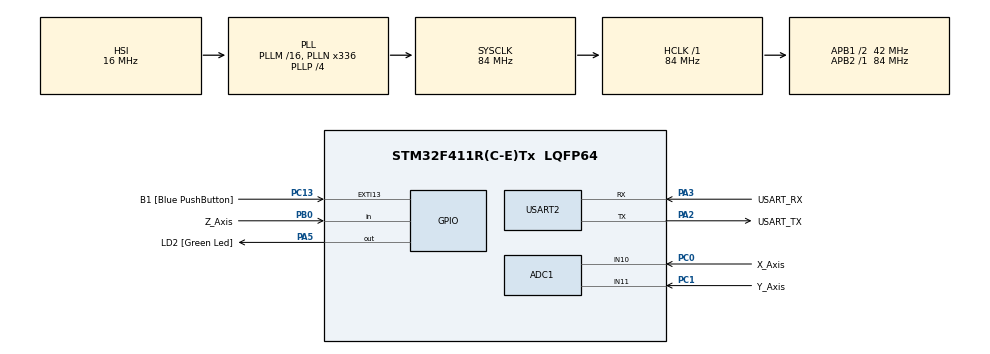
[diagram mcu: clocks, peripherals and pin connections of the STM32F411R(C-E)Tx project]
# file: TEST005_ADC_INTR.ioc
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ADC1.Channel-0\#ChannelRegularConversion=ADC_CHANNEL_10
ADC1.Channel-1\#ChannelRegularConversion=ADC_CHANNEL_11
ADC1.DiscontinuousConvMode=ENABLE
ADC1.NbrOfConversion=2
ADC1.NbrOfConversionFlag=1
ADC1.Rank-0\#ChannelRegularConversion=1
ADC1.Rank-1\#ChannelRegularConversion=2
ADC1.SamplingTime-0\#ChannelRegularConversion=ADC_SAMPLETIME_3CYCLES
ADC1.SamplingTime-1\#ChannelRegularConversion=ADC_SAMPLETIME_3CYCLES
ADC1.ScanConvMode=ENABLE
ADC1.master=1
Mcu.Family=STM32F4
Mcu.Name=STM32F411R(C-E)Tx
Mcu.Package=LQFP64
NVIC.ADC_IRQn=true\:0\:0\:false\:false\:true\:true\:true\:true
NVIC.PriorityGroup=NVIC_PRIORITYGROUP_0
NVIC.TIM3_IRQn=true\:0\:0\:false\:false\:true\:true\:true\:true
PA13.GPIO_Label=TMS
PA13.Mode=Serial_Wire
PA13.Signal=SYS_JTMS-SWDIO
PA14.GPIO_Label=TCK
PA14.Mode=Serial_Wire
PA14.Signal=SYS_JTCK-SWCLK
PA2.GPIO_Label=USART_TX
PA2.Mode=Asynchronous
PA2.Signal=USART2_TX
PA3.GPIO_Label=USART_RX
PA3.Mode=Asynchronous
PA3.Signal=USART2_RX
PA5.GPIO_Label=LD2 [Green Led]
PA5.Signal=GPIO_Output
PB0.GPIO_Label=Z_Axis
PB0.GPIO_PuPd=GPIO_PULLUP
PB0.Signal=GPIO_Input
PB3.GPIO_Label=SWO
PB3.Signal=SYS_JTDO-SWO
PC0.GPIO_Label=X_Axis
PC0.Signal=ADCx_IN10
PC1.GPIO_Label=Y_Axis
PC1.Signal=ADCx_IN11
PC13-ANTI_TAMP.GPIO_Label=B1 [Blue PushButton]
PC13-ANTI_TAMP.GPIO_ModeDefaultEXTI=GPIO_MODE_IT_FALLING
PC13-ANTI_TAMP.Signal=GPXTI13
PC14-OSC32_IN.Mode=LSE-External-Oscillator
PC14-OSC32_IN.Signal=RCC_OSC32_IN
PC15-OSC32_OUT.Mode=LSE-External-Oscillator
PC15-OSC32_OUT.Signal=RCC_OSC32_OUT
PH0\ -\ OSC_IN.Mode=HSE-External-Clock-Source
PH0\ -\ OSC_IN.Signal=RCC_OSC_IN
PH1\ -\ OSC_OUT.Mode=HSE-External-Clock-Source
PH1\ -\ OSC_OUT.Signal=RCC_OSC_OUT
ProjectManager.HeapSize=0x200
ProjectManager.StackSize=0x400
ProjectManager.TargetToolchain=STM32CubeIDE
RCC.48MHZClocksFreq_Value=84000000
RCC.AHBFreq_Value=84000000
RCC.APB1CLKDivider=RCC_HCLK_DIV2
RCC.APB1Freq_Value=42000000
RCC.APB1TimFreq_Value=84000000
RCC.APB2Freq_Value=84000000
RCC.APB2TimFreq_Value=84000000
RCC.CortexFreq_Value=84000000
RCC.FLatency-AdvancedSettings=FLASH_LATENCY_2
RCC.HCLKFreq_Value=84000000
RCC.HSE_VALUE=8000000
RCC.HSI_VALUE=16000000
RCC.PLLN=336
RCC.PLLP=RCC_PLLP_DIV4
RCC.SYSCLKFreq_VALUE=84000000
RCC.SYSCLKSource=RCC_SYSCLKSOURCE_PLLCLK
RCC.VCOOutputFreq_Value=336000000
SH.ADCx_IN10.0=ADC1_IN10,IN10
SH.ADCx_IN11.0=ADC1_IN11,IN11
TIM3.Period=2000-1
TIM3.Prescaler=8400-1
TIM4.Period=2000-1
TIM4.Prescaler=8400-1
USART2.VirtualMode=VM_ASYNC
VP_TIM3_VS_ClockSourceINT.Mode=Internal
VP_TIM4_VS_ClockSourceINT.Mode=Internal
board=NUCLEO-F411RE

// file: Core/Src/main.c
/* USER CODE BEGIN Header */
/**
  ******************************************************************************
  * @file           : main.c
  * @brief          : Main program body
  ******************************************************************************
  * @attention
  *
  * Copyright (c) 2024 STMicroelectronics.
  * All rights reserved.
  *
  * This software is licensed under terms that can be found in the LICENSE file
  * in the root directory of this software component.
  * If no LICENSE file comes with this software, it is provided AS-IS.
  *
  ******************************************************************************
  */
/* USER CODE END Header */
#include "main.h"

ADC_HandleTypeDef hadc1;

TIM_HandleTypeDef htim3;
TIM_HandleTypeDef htim4;

UART_HandleTypeDef huart2;

void SystemClock_Config(void);
static void MX_GPIO_Init(void);
static void MX_USART2_UART_Init(void);
static void MX_ADC1_Init(void);
static void MX_TIM3_Init(void);
static void MX_TIM4_Init(void);

/* USER CODE BEGIN 0 */
int x, y = 12, idx = 0;
int v = 0;
int cx = 39, cy = 12;
void HAL_ADC_ConvCpltCallback(ADC_HandleTypeDef *hadc)
{
	//HAL_ADC_Start(&hadc1);
	//HAL_ADC_PollForConversion(&hadc1, 1000); // start Trigger

	int v = HAL_ADC_GetValue(&hadc1)/1400 - 1; //(0~4096/1400)-1 = -1 0 1
	if(idx == 0) x = cx+ v; else y = cy+ v;
	//printf("ADC value : %d\r\n", v);
	//HAL_Delay(200);
	if(++idx == 2) idx = 0;
}

void HAL_TIM_PeriodElapsedCallback(TIM_HandleTypeDef *htim)
{
	HAL_ADC_Start_IT(&hadc1);
}

int xa[100],ya[100];
void MakeItem()
{
	int i;
	//srand(htim4.Instance->CNT);
	srand(hadc1.Instance->DR);
	for(i=0;i<100;i++)
	{
		int v1 =  rand();  //0 ~ 2,147,483,647
		int v2 =  rand();
		//printf("v : %d\r\n", x);
		//HAL_Delay(100);
		xa[i] = (((double)v1 / 2147483647.)) * 80;
		ya[i] = (((double)v2 / 2147483647.)) * 24;
		//printf("[%d;%d](%d,%d)\r\n",v1, v2, xa[i], ya[i]);
		printf("\033[%d;%dHo",ya[i], xa[i]);
	}
	printf("\n");
}

/* USER CODE END 0 */

int main(void)
{

  /* MCU Configuration--------------------------------------------------------*/

  /* Reset of all peripherals, Initializes the Flash interface and the Systick. */
  HAL_Init();

  /* Configure the system clock */
  SystemClock_Config();

  /* Initialize all configured peripherals */
  MX_GPIO_Init();
  MX_USART2_UART_Init();
  MX_ADC1_Init();
  MX_TIM3_Init();
  MX_TIM4_Init();
  /* USER CODE BEGIN 2 */
  HAL_TIM_Base_Start(&htim4);
  ProgramStart("ADC_INTR");
  //HAL_ADC_Start_IT(&hadc1); //One time Command->Run 1 time only
  HAL_TIM_Base_Start_IT(&htim3);
  printf("\033[2J\033[?25l\n");
  MakeItem();
  /* USER CODE END 2 */

  /* Infinite loop */
  /* USER CODE BEGIN WHILE */
  int sx = 80, sy = 24;

  while (1)
  {
	  //printf("Current ADC value : (%d, %d)\r\n", x, y);
	  x = (x > 78) ? 78 : (x < 0) ? 0 : x;
	  y = (y > 23) ? 23 : (y < 0) ? 0 : y;
	  int z = HAL_GPIO_ReadPin(Z_Axis_GPIO_Port, Z_Axis_Pin);
	  printf("\033[0;0HADC Value : (%d,%d,%d)", x, y, z);  // location info
	  printf("\033[%d;%dH \033[%d;%dH@\033[A\n", cy, cx, y, x);
	  cx = x; cy = y;  //save current pos
	  HAL_Delay(100);

    /* USER CODE END WHILE */

  }
}

void SystemClock_Config(void)
{
  RCC_OscInitTypeDef RCC_OscInitStruct = {0};
  RCC_ClkInitTypeDef RCC_ClkInitStruct = {0};

  /** Configure the main internal regulator output voltage
  */
  __HAL_RCC_PWR_CLK_ENABLE();
  __HAL_PWR_VOLTAGESCALING_CONFIG(PWR_REGULATOR_VOLTAGE_SCALE1);

  /** Initializes the RCC Oscillators according to the specified parameters
  * in the RCC_OscInitTypeDef structure.
  */
  RCC_OscInitStruct.OscillatorType = RCC_OSCILLATORTYPE_HSI;
  RCC_OscInitStruct.HSIState = RCC_HSI_ON;
  RCC_OscInitStruct.HSICalibrationValue = RCC_HSICALIBRATION_DEFAULT;
  RCC_OscInitStruct.PLL.PLLState = RCC_PLL_ON;
  RCC_OscInitStruct.PLL.PLLSource = RCC_PLLSOURCE_HSI;
  RCC_OscInitStruct.PLL.PLLM = 16;
  RCC_OscInitStruct.PLL.PLLN = 336;
  RCC_OscInitStruct.PLL.PLLP = RCC_PLLP_DIV4;
  RCC_OscInitStruct.PLL.PLLQ = 4;
  if (HAL_RCC_OscConfig(&RCC_OscInitStruct) != HAL_OK)
  {
    Error_Handler();
  }

  /** Initializes the CPU, AHB and APB buses clocks
  */
  RCC_ClkInitStruct.ClockType = RCC_CLOCKTYPE_HCLK|RCC_CLOCKTYPE_SYSCLK
                              |RCC_CLOCKTYPE_PCLK1|RCC_CLOCKTYPE_PCLK2;
  RCC_ClkInitStruct.SYSCLKSource = RCC_SYSCLKSOURCE_PLLCLK;
  RCC_ClkInitStruct.AHBCLKDivider = RCC_SYSCLK_DIV1;
  RCC_ClkInitStruct.APB1CLKDivider = RCC_HCLK_DIV2;
  RCC_ClkInitStruct.APB2CLKDivider = RCC_HCLK_DIV1;

  if (HAL_RCC_ClockConfig(&RCC_ClkInitStruct, FLASH_LATENCY_2) != HAL_OK)
  {
    Error_Handler();
  }
}

static void MX_ADC1_Init(void)
{

  ADC_ChannelConfTypeDef sConfig = {0};

  /** Configure the global features of the ADC (Clock, Resolution, Data Alignment and number of conversion)
  */
  hadc1.Instance = ADC1;
  hadc1.Init.ClockPrescaler = ADC_CLOCK_SYNC_PCLK_DIV4;
  hadc1.Init.Resolution = ADC_RESOLUTION_12B;
  hadc1.Init.ScanConvMode = ENABLE;
  hadc1.Init.ContinuousConvMode = DISABLE;
  hadc1.Init.DiscontinuousConvMode = ENABLE;
  hadc1.Init.NbrOfDiscConversion = 1;
  hadc1.Init.ExternalTrigConvEdge = ADC_EXTERNALTRIGCONVEDGE_NONE;
  hadc1.Init.ExternalTrigConv = ADC_SOFTWARE_START;
  hadc1.Init.DataAlign = ADC_DATAALIGN_RIGHT;
  hadc1.Init.NbrOfConversion = 2;
  hadc1.Init.DMAContinuousRequests = DISABLE;
  hadc1.Init.EOCSelection = ADC_EOC_SINGLE_CONV;
  if (HAL_ADC_Init(&hadc1) != HAL_OK)
  {
    Error_Handler();
  }

  /** Configure for the selected ADC regular channel its corresponding rank in the sequencer and its sample time.
  */
  sConfig.Channel = ADC_CHANNEL_10;
  sConfig.Rank = 1;
  sConfig.SamplingTime = ADC_SAMPLETIME_3CYCLES;
  if (HAL_ADC_ConfigChannel(&hadc1, &sConfig) != HAL_OK)
  {
    Error_Handler();
  }

  /** Configure for the selected ADC regular channel its corresponding rank in the sequencer and its sample time.
  */
  sConfig.Channel = ADC_CHANNEL_11;
  sConfig.Rank = 2;
  if (HAL_ADC_ConfigChannel(&hadc1, &sConfig) != HAL_OK)
  {
    Error_Handler();
  }

}

static void MX_TIM3_Init(void)
{

  TIM_ClockConfigTypeDef sClockSourceConfig = {0};
  TIM_MasterConfigTypeDef sMasterConfig = {0};

  htim3.Instance = TIM3;
  htim3.Init.Prescaler = 8400-1;
  htim3.Init.CounterMode = TIM_COUNTERMODE_UP;
  htim3.Init.Period = 2000-1;
  htim3.Init.ClockDivision = TIM_CLOCKDIVISION_DIV1;
  htim3.Init.AutoReloadPreload = TIM_AUTORELOAD_PRELOAD_DISABLE;
  if (HAL_TIM_Base_Init(&htim3) != HAL_OK)
  {
    Error_Handler();
  }
  sClockSourceConfig.ClockSource = TIM_CLOCKSOURCE_INTERNAL;
  if (HAL_TIM_ConfigClockSource(&htim3, &sClockSourceConfig) != HAL_OK)
  {
    Error_Handler();
  }
  sMasterConfig.MasterOutputTrigger = TIM_TRGO_RESET;
  sMasterConfig.MasterSlaveMode = TIM_MASTERSLAVEMODE_DISABLE;
  if (HAL_TIMEx_MasterConfigSynchronization(&htim3, &sMasterConfig) != HAL_OK)
  {
    Error_Handler();
  }

}

static void MX_TIM4_Init(void)
{

  TIM_ClockConfigTypeDef sClockSourceConfig = {0};
  TIM_MasterConfigTypeDef sMasterConfig = {0};

  htim4.Instance = TIM4;
  htim4.Init.Prescaler = 8400-1;
  htim4.Init.CounterMode = TIM_COUNTERMODE_UP;
  htim4.Init.Period = 2000-1;
  htim4.Init.ClockDivision = TIM_CLOCKDIVISION_DIV1;
  htim4.Init.AutoReloadPreload = TIM_AUTORELOAD_PRELOAD_DISABLE;
  if (HAL_TIM_Base_Init(&htim4) != HAL_OK)
  {
    Error_Handler();
  }
  sClockSourceConfig.ClockSource = TIM_CLOCKSOURCE_INTERNAL;
  if (HAL_TIM_ConfigClockSource(&htim4, &sClockSourceConfig) != HAL_OK)
  {
    Error_Handler();
  }
  sMasterConfig.MasterOutputTrigger = TIM_TRGO_RESET;
  sMasterConfig.MasterSlaveMode = TIM_MASTERSLAVEMODE_DISABLE;
  if (HAL_TIMEx_MasterConfigSynchronization(&htim4, &sMasterConfig) != HAL_OK)
  {
    Error_Handler();
  }

}

static void MX_USART2_UART_Init(void)
{

  huart2.Instance = USART2;
  huart2.Init.BaudRate = 115200;
  huart2.Init.WordLength = UART_WORDLENGTH_8B;
  huart2.Init.StopBits = UART_STOPBITS_1;
  huart2.Init.Parity = UART_PARITY_NONE;
  huart2.Init.Mode = UART_MODE_TX_RX;
  huart2.Init.HwFlowCtl = UART_HWCONTROL_NONE;
  huart2.Init.OverSampling = UART_OVERSAMPLING_16;
  if (HAL_UART_Init(&huart2) != HAL_OK)
  {
    Error_Handler();
  }

}

static void MX_GPIO_Init(void)
{
  GPIO_InitTypeDef GPIO_InitStruct = {0};

  /* GPIO Ports Clock Enable */
  __HAL_RCC_GPIOC_CLK_ENABLE();
  __HAL_RCC_GPIOH_CLK_ENABLE();
  __HAL_RCC_GPIOA_CLK_ENABLE();
  __HAL_RCC_GPIOB_CLK_ENABLE();

  /*Configure GPIO pin Output Level */
  HAL_GPIO_WritePin(LD2_GPIO_Port, LD2_Pin, GPIO_PIN_RESET);

  /*Configure GPIO pin : B1_Pin */
  GPIO_InitStruct.Pin = B1_Pin;
  GPIO_InitStruct.Mode = GPIO_MODE_IT_FALLING;
  GPIO_InitStruct.Pull = GPIO_NOPULL;
  HAL_GPIO_Init(B1_GPIO_Port, &GPIO_InitStruct);

  /*Configure GPIO pin : LD2_Pin */
  GPIO_InitStruct.Pin = LD2_Pin;
  GPIO_InitStruct.Mode = GPIO_MODE_OUTPUT_PP;
  GPIO_InitStruct.Pull = GPIO_NOPULL;
  GPIO_InitStruct.Speed = GPIO_SPEED_FREQ_LOW;
  HAL_GPIO_Init(LD2_GPIO_Port, &GPIO_InitStruct);

  /*Configure GPIO pin : Z_Axis_Pin */
  GPIO_InitStruct.Pin = Z_Axis_Pin;
  GPIO_InitStruct.Mode = GPIO_MODE_INPUT;
  GPIO_InitStruct.Pull = GPIO_PULLUP;
  HAL_GPIO_Init(Z_Axis_GPIO_Port, &GPIO_InitStruct);

}

void Error_Handler(void)
{
  __disable_irq();
  while (1)
  {
  }
}
